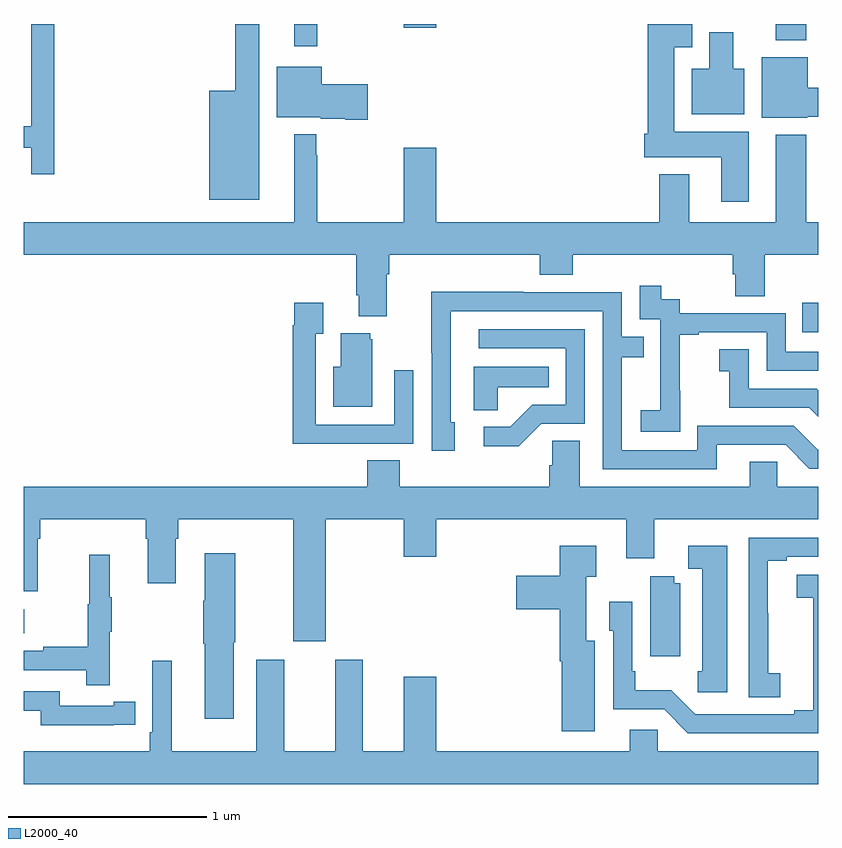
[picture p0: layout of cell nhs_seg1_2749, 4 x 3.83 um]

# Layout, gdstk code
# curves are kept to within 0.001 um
import gdstk
lib = gdstk.Library(unit=1e-6, precision=1e-09)
def R(c, l, rs):  # rectangles x0, y0, x1, y1
    for r in rs: c.add(gdstk.rectangle(r[:2], r[2:], *l))
def P(c, l, *ps):  # polygons
    for p in ps: c.add(gdstk.Polygon(p, *l))
L2000_40 = (2000, 40)

nhs_seg1_2749 = lib.new_cell('nhs_seg1_2749')
R(nhs_seg1_2749, L2000_40, [(259,579.131,259.003,579.253), (262.921,580.647,263,580.795), (260.363,582.087,260.477,582.199), (262.787,582.116,262.94,582.199), (260.912,582.18,261.076,582.199)])
P(nhs_seg1_2749, L2000_40, [(259.154,582.199),(259.038,582.199),(259.038,581.685),(259,581.685),(259,581.577),(259.037,581.577),(259.037,581.442),(259.154,581.442)],
  [(262.651,581.656),(262.276,581.656),(262.276,582.083),(262.366,582.083),(262.366,582.199),(262.142,582.199),(262.142,581.646),(262.124,581.646),(262.124,581.528),(262.511,581.528),(262.511,581.304),(262.651,581.304)],
  [(260.185,582.199),(260.064,582.199),(260.064,581.863),(259.934,581.863),(259.934,581.315),(260.185,581.315)],
  [(262.627,581.974),(262.573,581.974),(262.573,582.157),(262.451,582.157),(262.451,581.974),(262.364,581.974),(262.364,581.744),(262.627,581.744)],
  [(262.944,581.732),(263,581.732),(263,581.879),(262.948,581.879),(262.948,582.031),(262.715,582.031),(262.715,581.726),(262.944,581.726)],
  [(260.731,581.895),(260.5,581.895),(260.5,581.983),(260.273,581.983),(260.273,581.729),(260.496,581.729),(260.496,581.722),(260.618,581.722),(260.618,581.717),(260.731,581.717)],
  [(262.351,581.443),(262.199,581.443),(262.199,581.2),(261.076,581.2),(261.076,581.575),(260.912,581.575),(260.912,581.2),(260.477,581.2),(260.477,581.537),(260.473,581.537),(260.473,581.644),(260.363,581.644),(260.363,581.2),(259,581.2),(259,581.036),(260.675,581.036),(260.675,580.834),(260.687,580.834),(260.687,580.727),(260.827,580.727),(260.827,580.94),(260.84,580.94),(260.84,581.036),(261.599,581.036),(261.599,580.937),(261.764,580.937),(261.764,581.036),(262.571,581.036),(262.571,580.938),(262.583,580.938),(262.583,580.828),(262.731,580.828),(262.731,581.036),(263,581.036),(263,581.2),(262.94,581.2),(262.94,581.641),(262.787,581.641),(262.787,581.2),(262.351,581.2)],
  [(262.305,580.351),(262.304,580.351),(262.304,580.635),(262.399,580.635),(262.399,580.647),(262.74,580.647),(262.74,580.452),(263,580.452),(263,580.548),(262.836,580.548),(262.836,580.743),(262.302,580.743),(262.302,580.812),(262.21,580.812),(262.21,580.882),(262.101,580.882),(262.101,580.713),(262.206,580.713),(262.206,580.484),(262.205,580.484),(262.205,580.255),(262.107,580.255),(262.107,580.145),(262.305,580.145)],
  [(262.489,580.08),(262.836,580.08),(262.956,579.96),(263,579.96),(263,580.056),(262.998,580.056),(262.878,580.176),(262.392,580.176),(262.392,580.053),(262.011,580.053),(262.011,580.522),(262.121,580.522),(262.121,580.623),(262.011,580.623),(262.011,580.848),(261.515,580.848),(261.515,580.85),(261.052,580.85),(261.052,580.543),(261.054,580.543),(261.054,580.05),(261.169,580.05),(261.169,580.194),(261.15,580.194),(261.15,580.752),(261.915,580.752),(261.915,579.957),(262.489,579.957)],
  [(260.645,580.086),(260.961,580.086),(260.961,580.456),(260.865,580.456),(260.865,580.182),(260.469,580.182),(260.469,580.639),(260.509,580.639),(260.509,580.795),(260.361,580.795),(260.361,580.682),(260.353,580.682),(260.353,580.085),(260.645,580.085)],
  [(261.606,580.185),(261.825,580.185),(261.825,580.662),(261.291,580.662),(261.291,580.566),(261.729,580.566),(261.729,580.281),(261.56,580.281),(261.449,580.17),(261.315,580.17),(261.315,580.073),(261.493,580.073)],
  [(260.755,580.611),(260.744,580.611),(260.744,580.642),(260.597,580.642),(260.597,580.474),(260.558,580.474),(260.558,580.271),(260.755,580.271)],
  [(263,580.354),(262.992,580.362),(262.65,580.362),(262.65,580.561),(262.503,580.561),(262.503,580.451),(262.552,580.451),(262.552,580.266),(262.955,580.266),(263,580.221)],
  [(261.387,580.37),(261.644,580.37),(261.644,580.474),(261.266,580.474),(261.266,580.255),(261.387,580.255)],
  [(260.521,579.704),(260.912,579.704),(260.912,579.516),(261.076,579.516),(261.076,579.704),(262.034,579.704),(262.034,579.51),(262.174,579.51),(262.174,579.704),(263,579.704),(263,579.868),(262.794,579.868),(262.794,579.995),(262.655,579.995),(262.655,579.868),(261.799,579.868),(261.799,580.1),(261.66,580.1),(261.66,579.977),(261.647,579.977),(261.647,579.868),(260.894,579.868),(260.894,580.001),(260.729,580.001),(260.729,579.868),(259,579.868),(259,579.342),(259.069,579.342),(259.069,579.608),(259.082,579.608),(259.082,579.704),(259.613,579.704),(259.613,579.608),(259.625,579.608),(259.625,579.384),(259.765,579.384),(259.765,579.608),(259.778,579.608),(259.778,579.704),(260.357,579.704),(260.357,579.09),(260.521,579.09)],
  [(262.81,578.929),(262.749,578.929),(262.749,579.233),(262.747,579.233),(262.747,579.496),(262.843,579.496),(262.843,579.516),(263,579.516),(263,579.612),(262.65,579.612),(262.65,578.809),(262.81,578.809)],
  [(262.543,579.571),(262.347,579.571),(262.347,579.456),(262.415,579.456),(262.415,578.94),(262.393,578.94),(262.393,578.835),(262.543,578.835)],
  [(261.874,579.094),(261.832,579.094),(261.832,579.415),(261.883,579.415),(261.883,579.571),(261.698,579.571),(261.698,579.421),(261.48,579.421),(261.48,579.251),(261.698,579.251),(261.698,578.99),(261.71,578.99),(261.71,578.637),(261.874,578.637)],
  [(260.056,579.085),(260.064,579.085),(260.064,579.535),(259.91,579.535),(259.91,579.296),(259.903,579.296),(259.903,579.079),(259.91,579.079),(259.91,578.7),(260.056,578.7)],
  [(259.433,579.139),(259.444,579.139),(259.444,579.313),(259.433,579.313),(259.433,579.526),(259.33,579.526),(259.33,579.276),(259.323,579.276),(259.323,579.062),(259.099,579.062),(259.099,579.042),(259,579.042),(259,578.946),(259.315,578.946),(259.315,578.868),(259.433,578.868)],
  [(263,579.425),(262.893,579.425),(262.893,579.31),(262.975,579.31),(262.976,578.744),(262.88,578.744),(262.88,578.724),(262.38,578.724),(262.259,578.845),(262.078,578.845),(262.078,578.941),(262.065,578.941),(262.065,579.289),(261.948,579.289),(261.948,579.144),(261.969,579.144),(261.969,578.748),(262.224,578.748),(262.344,578.628),(263,578.628)],
  [(262.306,579.382),(262.274,579.382),(262.274,579.419),(262.154,579.419),(262.154,579.015),(262.306,579.015)],
  [(263,578.536),(262.191,578.536),(262.191,578.646),(262.052,578.646),(262.052,578.536),(261.076,578.536),(261.076,578.911),(260.912,578.911),(260.912,578.536),(260.707,578.536),(260.707,578.998),(260.567,578.998),(260.567,578.536),(260.311,578.536),(260.311,578.998),(260.171,578.998),(260.171,578.536),(259.744,578.536),(259.744,578.992),(259.647,578.992),(259.647,578.632),(259.634,578.632),(259.634,578.536),(259,578.536),(259,578.372),(263,578.372)],
  [(259.454,578.67),(259.562,578.67),(259.562,578.786),(259.454,578.786),(259.454,578.766),(259.182,578.766),(259.182,578.838),(259,578.838),(259,578.742),(259.086,578.742),(259.086,578.669),(259.454,578.669)])

lib.write_gds('nhs_seg1_2749.gds')
